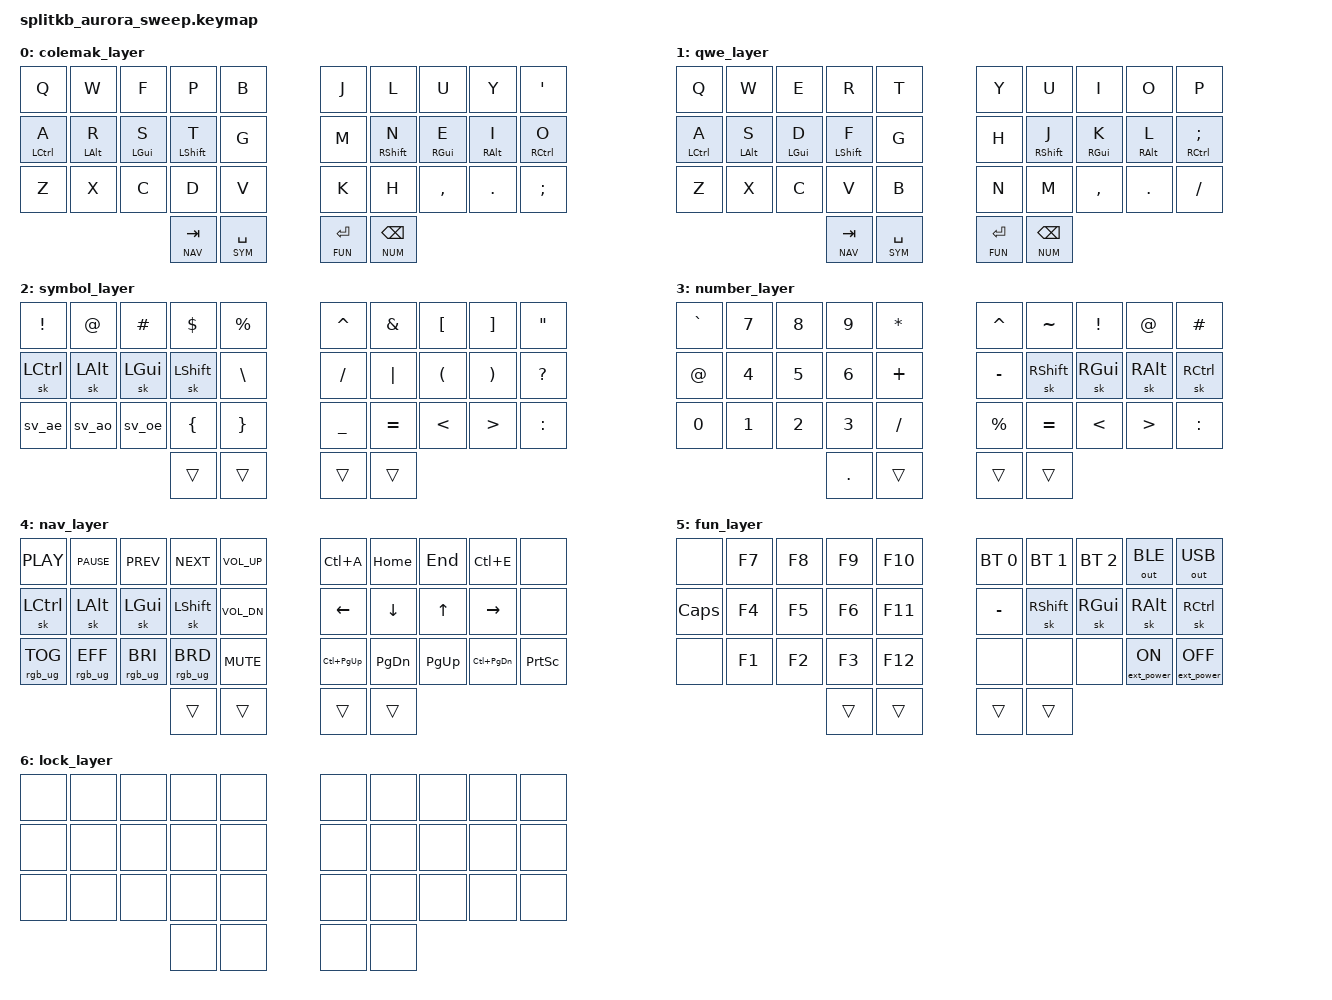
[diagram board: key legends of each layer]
/*
 * Copyright (c) 2022 The ZMK Contributors
 *
 * SPDX-License-Identifier: MIT
 */

#include <behaviors.dtsi>
#include <dt-bindings/zmk/keys.h>
#include <dt-bindings/zmk/bt.h>
#include <dt-bindings/zmk/outputs.h>
#include <dt-bindings/zmk/rgb.h>
#include <dt-bindings/zmk/ext_power.h>

#include "layers.dtsi"

#define HOST_OS 2  // set to 2 for macOS/Windows-Alt-Codes, default is 0 (Windows)
#include "../zmk-nodefree-config/helper.h"
#include "../zmk-nodefree-config/international_chars/swedish.dtsi"

&caps_word {
   continue-list = <UNDERSCORE MINUS BACKSPACE>;
};

&mt {
   // flavor = "tap-preferred";
   // tapping_term_ms = <200>;
};

/ {



    behaviors {
        skq: sticky_key_quick_release {
            compatible = "zmk,behavior-sticky-key";
            label = "STICKY_KEY_QUICK_RELEASE";
            #binding-cells = <1>;
            bindings = <&kp>;
            release-after-ms = <1000>;
            quick-release;
        };

        gqt: global-quick-tap {
            compatible = "zmk,behavior-hold-tap";
            label = "GLOBAL_QUICK_TAP";
            #binding-cells = <2>;
            flavor = "tap-preferred";
            tapping-term-ms = <200>;
            quick-tap-ms = <150>;
            global-quick-tap;
            bindings = <&kp>, <&kp>;
        };
    };

    macros {
        language_switch: language_switch {
            label = "ZM_language_switch";
            compatible = "zmk,behavior-macro";
            #binding-cells = <0>;
            bindings
                = <&macro_tap &tog QWE &kp LC(SPACE)>
                ;
        };
    };

    combos {
        compatible = "zmk,combos";
        
        combo_wf_esc {
            layers = <NORMAL_LAYERS>;
            timeout-ms = <50>;
            key-positions = <1 2>;
            bindings = <&kp ESC>;
        };
        combo_xc_win {
            layers = <NORMAL_LAYERS>;
            timeout-ms = <50>;
            key-positions = <21 22>;
            bindings = <&sk LGUI>;
        };
        combo_cd_lalt {
            layers = <NORMAL_LAYERS>;
            timeout-ms = <50>;
            key-positions = <22 23>;
            bindings = <&sk LALT>;
        };


        combo_gm_capsword {
            layers = <NORMAL_LAYERS>;
            timeout-ms = <100>;
            key-positions = <14 15>;
            bindings = <&caps_word>;
        };
        combo_del {
            layers = <NORMAL_LAYERS>;
            timeout-ms = <50>;
            key-positions = <30 31>;
            bindings = <&kp DEL>;
        };
        combo_esc {
            layers = <NORMAL_LAYERS>;
            timeout-ms = <100>;
            key-positions = <31 32>;
            bindings = <&kp ESC>;
        };
        combo_bspc {
            layers = <NORMAL_LAYERS>;
            timeout-ms = <50>;
            key-positions = <32 33>;
            bindings = <&kp BSPC>;
        };

        combo_uy_bspc {
            layers = <NORMAL_LAYERS>;
            timeout-ms = <50>;
            key-positions = <7 8>;
            bindings = <&sk BSPC>;
        };
        combo_comma_dot_del {
            layers = <NORMAL_LAYERS>;
            timeout-ms = <50>;
            key-positions = <27 28>;
            bindings = <&sk DEL>;
        };
        combo_h_comma_ctrl {
            layers = <NORMAL_LAYERS>;
            timeout-ms = <50>;
            key-positions = <26 27>;
            bindings = <&sk RCTRL>;
        };

        combo_lang {
            timeout-ms = <50>;
            key-positions = <20 29>;
            bindings = <&language_switch>;            
        };
        
        combo_lock {
            timeout-ms = <50>;
            key-positions = <20 29 30 33>;
            bindings = <&tog LCK>;
        };
    };
};

/*           34 Keys
╭──────────────╮ ╭──────────────╮
│ 0  1  2  3  4│ │ 5  6  7  8  9│
│10 11 12 13 14│ │15 16 17 18 19│
│20 21 22 23 24│ │25 26 27 28 29│
╰────────╮30 31│ │32 33╭────────╯
         ╰─────╯ ╰─────╯         */

/ {
keymap {
compatible = "zmk,keymap";
colemak_layer {
    bindings = <
        &kp Q 	&kp W 	&kp F 	&kp P 	&kp B 		&kp J 	&kp L   &kp U     &kp Y   	&kp APOS
        &gqt LCTRL A 	&gqt LALT R 	&gqt LGUI S 	&gqt LSHFT T 	&kp G 		&kp M 	&gqt RSHFT N   &gqt RGUI E     &gqt RALT I   	&gqt RCTRL O
        &kp Z 	&kp X 	&kp C 	&kp D 	&kp V 		&kp K 	&kp H   &kp COMMA &kp DOT 	&kp SEMI
                                &lt NAV TAB &lt SYM SPACE 	    &lt FUN RET   &lt NUM BSPC
    >;
};

qwe_layer {
    bindings = <
        &kp Q 	&kp W 	&kp E 	&kp R 	&kp T 		&kp Y 	&kp U  &kp I     &kp O   	&kp P
        &gqt LCTRL A 	&gqt LALT S 	&gqt LGUI D 	&gqt LSHFT F 	&kp G 		&kp H 	&gqt RSHFT J   &gqt RGUI K     &gqt RALT L   	&gqt RCTRL SEMI
        &kp Z 	&kp X 	&kp C 	&kp V 	&kp B 		&kp N 	&kp M   &kp COMMA &kp DOT 	&kp FSLH
                                &lt NAV TAB &lt SYM SPACE 	    &lt FUN RET   &lt NUM BSPC
    >;
};

symbol_layer {                
    bindings = <
        &kp EXCL    &kp AT      &kp HASH    &kp DOLLAR  &kp PRCNT       &kp CARET   &kp AMPS    &kp LBKT    &kp RBKT    &kp DQT
        &sk LCTRL   &sk LALT    &sk LGUI    &sk LSHFT   &kp BSLH        &kp FSLH    &kp PIPE    &kp LPAR 	&kp RPAR    &kp QMARK
        &sv_ae 	    &sv_ao 		&sv_oe      &kp LBRC    &kp RBRC        &kp UNDER   &kp EQUAL   &kp LT      &kp GT      &kp COLON
                                            &trans   	&trans 	        &trans      &trans
    >;
};

number_layer {
    bindings = <
        &kp GRAVE  &kp N7  &kp N8  &kp N9 	&kp STAR 		    &kp CARET 	  &kp TILDE   &kp EXCL   &kp AT    &kp HASH
        &kp AT     &kp N4  &kp N5  &kp N6   &kp PLUS 		    &kp MINUS     &sk RSHIFT  &sk RGUI   &sk RALT  &sk RCTRL
        &kp N0     &kp N1  &kp N2  &kp N3 	&kp FSLH 		    &kp PRCNT 	  &kp EQUAL   &kp LT  	 &kp GT    &kp COLON
                                   &kp DOT  &trans              &trans        &trans
    >;
};

nav_layer {
    bindings = <
        &kp C_PLAY 	    &kp C_PAUSE      &kp C_PREV       &kp C_NEXT      &kp C_VOL_UP       &kp LC(A)     &kp HOME  &kp END    &kp LC(E)     &none
        &sk LCTRL       &sk LALT         &sk LGUI         &sk LSHFT       &kp C_VOL_DN       &kp LEFT      &kp DOWN  &kp UP     &kp RIGHT     &none
        &rgb_ug RGB_TOG &rgb_ug RGB_EFF  &rgb_ug RGB_BRI  &rgb_ug RGB_BRD &kp K_MUTE 	     &kp LC(PG_UP) &kp PG_DN &kp PG_UP  &kp LC(PG_DN) &kp PSCRN
                                                          &trans          &trans 		     &trans        &trans
    >;
};

fun_layer {
    bindings = <
        &none    &kp F7  &kp F8   &kp F9 	&kp F10 		&bt BT_SEL 0  &bt BT_SEL 1  &bt BT_SEL 2  &out OUT_BLE  &out OUT_USB
        &kp CAPS &kp F4  &kp F5   &kp F6 	&kp F11 		&kp MINUS     &sk RSHIFT    &sk RGUI      &sk RALT      &sk RCTRL   
        &none 	 &kp F1  &kp F2	  &kp F3 	&kp F12 		&none         &none         &none         &ext_power EP_ON &ext_power EP_OFF
                                  &trans 	&trans 	        &trans        &trans
    >;
};


lock_layer {
// only way out is the lock combo
// other combos are disabled too
bindings = <
&none &none &none &none &none &none &none &none &none &none 
&none &none &none &none &none &none &none &none &none &none 
&none &none &none &none &none &none &none &none &none &none 
&none &none &none &none 
                    >;
                };
        };
};
